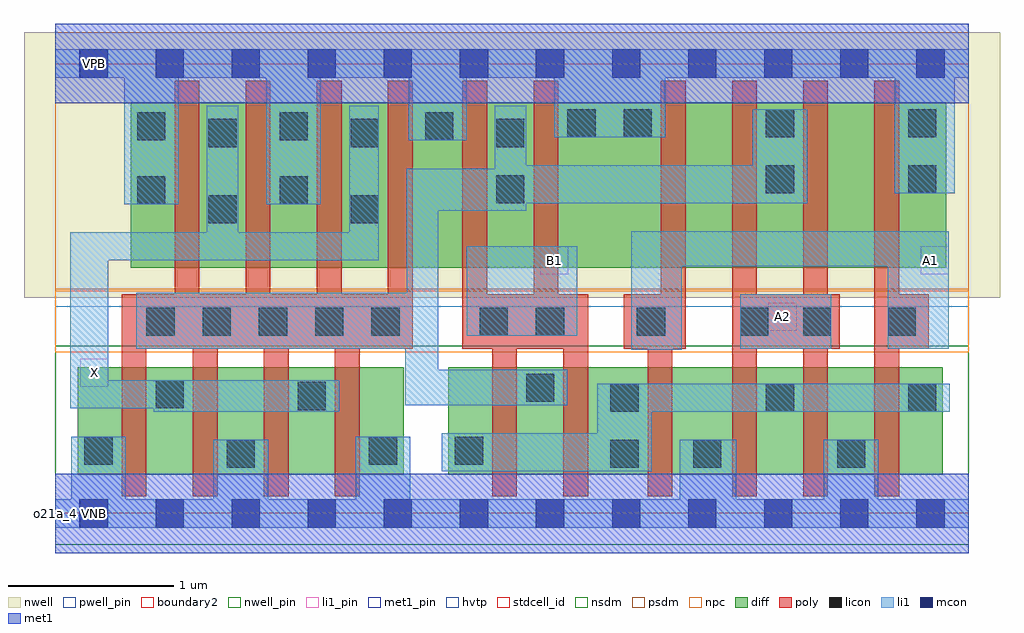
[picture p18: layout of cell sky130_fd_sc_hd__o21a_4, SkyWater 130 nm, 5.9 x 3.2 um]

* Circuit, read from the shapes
.subckt sky130_fd_sc_hd__o21a_4 A1 A2 B1 VGND VNB VPB VPWR X
XM1 X n1 VGND VNB sky130_fd_pr__nfet_01v8 w=0.65 l=0.15 m=4
XM2 n1 B1 n2 VNB sky130_fd_pr__nfet_01v8 w=0.65 l=0.15 m=2
XM3 VGND A1 n2 VNB sky130_fd_pr__nfet_01v8 w=0.65 l=0.15 m=2
XM4 n2 A2 VGND VNB sky130_fd_pr__nfet_01v8 w=0.65 l=0.15 m=2
XM5 X n1 VPWR VPB sky130_fd_pr__pfet_01v8_hvt w=1 l=0.15 m=4
XM6 n1 B1 VPWR VPB sky130_fd_pr__pfet_01v8_hvt w=1 l=0.15 m=2
XM7 n3 A1 VPWR VPB sky130_fd_pr__pfet_01v8_hvt w=1 l=0.15
XM8 n1 A2 n3 VPB sky130_fd_pr__pfet_01v8_hvt w=1 l=0.15
XM9 n4 A2 n1 VPB sky130_fd_pr__pfet_01v8_hvt w=1 l=0.15
XM10 VPWR A1 n4 VPB sky130_fd_pr__pfet_01v8_hvt w=1 l=0.15
.ends

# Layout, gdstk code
import gdstk
lib = gdstk.Library(unit=1e-6, precision=1e-09)
def R(c, l, rs):  # rectangles x0, y0, x1, y1
    for r in rs: c.add(gdstk.rectangle(r[:2], r[2:], *l))
def A(c, l, x, y, w, h, nx, ny, dx, dy):  # array of equal rectangles
    R(c, l, [(x+i*dx, y+j*dy, x+i*dx+w, y+j*dy+h) for i in range(nx) for j in range(ny)])
def P(c, l, *ps):  # polygons
    for p in ps: c.add(gdstk.Polygon(p, *l))
nwell_pin = (64, 16)
nwell = (64, 20)
diff = (65, 20)
poly = (66, 20)
licon = (66, 44)
li1_pin = (67, 16)
li1 = (67, 20)
mcon = (67, 44)
met1_pin = (68, 16)
met1 = (68, 20)
hvtp = (78, 44)
stdcell_id = (81, 4)
nsdm = (93, 44)
psdm = (94, 20)
npc = (95, 20)
pwell_pin = (122, 16)
boundary2 = (236, 0)

sky130_fd_sc_hd__o21a_4 = lib.new_cell('sky130_fd_sc_hd__o21a_4')
R(sky130_fd_sc_hd__o21a_4, nwell_pin, [(0.15,2.635,0.32,2.805)])
R(sky130_fd_sc_hd__o21a_4, nwell, [(-0.19,1.305,5.71,2.91)])
R(sky130_fd_sc_hd__o21a_4, diff, [(0.135,0.235,2.105,0.885), (2.375,0.235,5.365,0.885), (0.455,1.485,5.385,2.485)])
P(sky130_fd_sc_hd__o21a_4, poly, [(2.16,2.615),(2.01,2.615),(2.01,1.325),(1.73,1.325),(1.73,2.615),(1.58,2.615),(1.58,1.325),(1.3,1.325),(1.3,2.615),(1.15,2.615),(1.15,1.325),(0.87,1.325),(0.87,2.615),(0.72,2.615),(0.72,1.325),(0.4,1.325),(0.4,0.105),(0.55,0.105),(0.55,0.995),(0.83,0.995),(0.83,0.105),(0.98,0.105),(0.98,0.995),(1.26,0.995),(1.26,0.105),(1.41,0.105),(1.41,0.995),(1.69,0.995),(1.69,0.105),(1.84,0.105),(1.84,0.995),(2.16,0.995)],
  [(3.22,1.325),(3.04,1.325),(3.04,2.615),(2.89,2.615),(2.89,1.325),(2.61,1.325),(2.61,2.615),(2.46,2.615),(2.46,0.995),(2.64,0.995),(2.64,0.105),(2.79,0.105),(2.79,0.995),(3.07,0.995),(3.07,0.105),(3.22,0.105)],
  [(3.81,2.615),(3.66,2.615),(3.66,1.325),(3.435,1.325),(3.435,0.995),(3.58,0.995),(3.58,0.105),(3.73,0.105),(3.73,0.995),(3.81,0.995)],
  [(4.74,1.325),(4.67,1.325),(4.67,2.615),(4.52,2.615),(4.52,1.325),(4.24,1.325),(4.24,2.615),(4.09,2.615),(4.09,0.105),(4.24,0.105),(4.24,0.995),(4.52,0.995),(4.52,0.105),(4.67,0.105),(4.67,0.995),(4.74,0.995)],
  [(5.28,1.325),(5.1,1.325),(5.1,2.615),(4.95,2.615),(4.95,0.105),(5.1,0.105),(5.1,0.995),(5.28,0.995)])
A(sky130_fd_sc_hd__o21a_4, licon, 0.55, 1.075, 0.17, 0.17, 5, 1, 0.34, 0)
A(sky130_fd_sc_hd__o21a_4, licon, 3.435, 2.275, 0.17, 0.17, 3, 1, 0.86, 0)
R(sky130_fd_sc_hd__o21a_4, licon, [(1.035,0.275,1.205,0.445), (3.355,0.275,3.525,0.445), (3.855,0.275,4.025,0.445), (4.725,0.275,4.895,0.445), (0.175,0.295,0.345,0.465), (1.895,0.295,2.065,0.465), (2.415,0.295,2.585,0.465), (3.355,0.615,3.525,0.785), (4.295,0.615,4.465,0.785), (5.155,0.615,5.325,0.785), (1.465,0.625,1.635,0.795), (0.605,0.635,0.775,0.805), (2.845,0.675,3.015,0.845), (2.565,1.075,2.735,1.245), (2.905,1.075,3.075,1.245), (3.515,1.075,3.685,1.245), (4.14,1.075,4.31,1.245), (4.52,1.075,4.69,1.245), (5.03,1.075,5.2,1.245), (0.925,1.755,1.095,1.925), (1.785,1.755,1.955,1.925), (0.495,1.87,0.665,2.04), (1.355,1.87,1.525,2.04), (2.665,1.875,2.835,2.045), (4.295,1.935,4.465,2.105), (5.155,1.935,5.325,2.105), (0.925,2.215,1.095,2.385), (1.785,2.215,1.955,2.385), (2.665,2.215,2.835,2.385), (0.495,2.255,0.665,2.425), (1.355,2.255,1.525,2.425), (2.235,2.255,2.405,2.425), (3.095,2.275,3.265,2.445)])
R(sky130_fd_sc_hd__o21a_4, li1_pin, [(0.15,0.765,0.32,0.935), (4.31,1.105,4.48,1.275), (2.93,1.445,3.1,1.615), (5.23,1.445,5.4,1.615)])
R(sky130_fd_sc_hd__o21a_4, li1, [(4.14,0.995,4.69,1.325), (2.485,1.075,3.155,1.615)])
P(sky130_fd_sc_hd__o21a_4, li1, [(5.52,0.085),(4.975,0.085),(4.975,0.445),(4.645,0.445),(4.645,0.085),(4.115,0.085),(4.115,0.445),(3.775,0.445),(3.775,0.085),(2.145,0.085),(2.145,0.465),(1.815,0.465),(1.815,0.085),(1.285,0.085),(1.285,0.445),(0.955,0.445),(0.955,0.085),(0.425,0.085),(0.425,0.465),(0.095,0.465),(0.095,0.085),(0,0.085),(0,-0.085),(5.52,-0.085)],
  [(5.52,2.805),(0,2.805),(0,2.635),(0.415,2.635),(0.415,1.87),(0.745,1.87),(0.745,2.635),(1.275,2.635),(1.275,1.87),(1.605,1.87),(1.605,2.635),(2.135,2.635),(2.135,2.255),(2.485,2.255),(2.485,2.635),(3.015,2.635),(3.015,2.275),(3.685,2.275),(3.685,2.635),(5.075,2.635),(5.075,1.935),(5.435,1.935),(5.435,2.635),(5.52,2.635)],
  [(4.545,2.445),(4.215,2.445),(4.215,2.105),(2.845,2.105),(2.845,2.465),(2.655,2.465),(2.655,2.085),(2.125,2.085),(2.125,1.335),(0.49,1.335),(0.49,0.995),(2.115,0.995),(2.115,0.655),(3.095,0.655),(3.095,0.87),(2.315,0.87),(2.315,1.83),(2.845,1.83),(2.845,1.875),(4.545,1.875)],
  [(5.4,1.705),(3.48,1.705),(3.48,0.99),(3.785,0.99),(3.785,1.495),(5.03,1.495),(5.03,0.995),(5.4,0.995)],
  [(5.405,0.785),(3.275,0.785),(3.275,0.485),(2.335,0.485),(2.335,0.255),(3.605,0.255),(3.605,0.615),(5.405,0.615)],
  [(1.955,2.465),(1.775,2.465),(1.775,1.7),(1.105,1.7),(1.105,2.465),(0.915,2.465),(0.915,1.7),(0.09,1.7),(0.09,0.635),(0.595,0.635),(0.595,0.615),(1.715,0.615),(1.715,0.805),(0.32,0.805),(0.32,1.53),(1.955,1.53)])
A(sky130_fd_sc_hd__o21a_4, mcon, 0.145, -0.085, 0.17, 0.17, 12, 2, 0.46, 2.72)
R(sky130_fd_sc_hd__o21a_4, met1_pin, [(0.15,-0.085,0.32,0.085), (0.15,2.635,0.32,2.805)])
R(sky130_fd_sc_hd__o21a_4, hvtp, [(0,1.25,5.52,2.72)])
R(sky130_fd_sc_hd__o21a_4, stdcell_id, [(0,0,5.52,2.72)])
R(sky130_fd_sc_hd__o21a_4, nsdm, [(0,-0.19,5.52,1.015)])
R(sky130_fd_sc_hd__o21a_4, psdm, [(0,1.355,5.52,2.91)])
R(sky130_fd_sc_hd__o21a_4, npc, [(0,0.975,5.52,1.345)])
R(sky130_fd_sc_hd__o21a_4, pwell_pin, [(0.15,-0.085,0.32,0.085)])
R(sky130_fd_sc_hd__o21a_4, boundary2, [(0,0,5.52,2.72)])
sky130_fd_sc_hd__o21a_4.add(gdstk.FlexPath([(0,2.72),(5.52,2.72)], 0.48, ends="flush", simple_path=True, layer=68, datatype=20))  # met1
sky130_fd_sc_hd__o21a_4.add(gdstk.FlexPath([(0,0),(5.52,0)], 0.48, ends="flush", simple_path=True, layer=68, datatype=20))  # met1
sky130_fd_sc_hd__o21a_4.add(gdstk.Label('A1', (5.29,1.53), layer=67, texttype=5))
sky130_fd_sc_hd__o21a_4.add(gdstk.Label('A2', (4.395,1.19), layer=67, texttype=5))
sky130_fd_sc_hd__o21a_4.add(gdstk.Label('B1', (3.015,1.53), layer=67, texttype=5))
sky130_fd_sc_hd__o21a_4.add(gdstk.Label('X', (0.235,0.85), layer=67, texttype=5))
sky130_fd_sc_hd__o21a_4.add(gdstk.Label('VNB', (0.235,0), layer=64, texttype=59))
sky130_fd_sc_hd__o21a_4.add(gdstk.Label('VPB', (0.235,2.72), layer=64, texttype=5))
sky130_fd_sc_hd__o21a_4.add(gdstk.Label('VPWR', (0.235,2.72), layer=68, texttype=5))
sky130_fd_sc_hd__o21a_4.add(gdstk.Label('VGND', (0.23,0), layer=68, texttype=5))
sky130_fd_sc_hd__o21a_4.add(gdstk.Label('o21a_4', (0,0), layer=83, texttype=44))

lib.write_gds('sky130_fd_sc_hd__o21a_4.gds')
